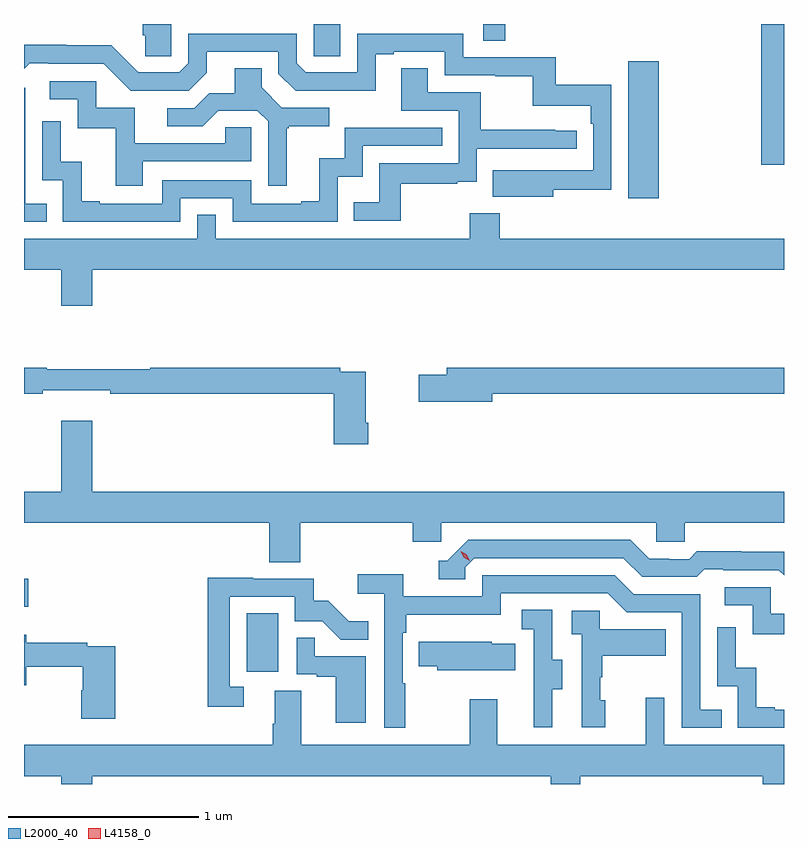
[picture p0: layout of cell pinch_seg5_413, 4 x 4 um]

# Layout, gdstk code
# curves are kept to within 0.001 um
import gdstk
lib = gdstk.Library(unit=1e-6, precision=1e-09)
def R(c, l, rs):  # rectangles x0, y0, x1, y1
    for r in rs: c.add(gdstk.rectangle(r[:2], r[2:], *l))
def P(c, l, *ps):  # polygons
    for p in ps: c.add(gdstk.Polygon(p, *l))
L2000_40 = (2000, 40)
L4158_0 = (4158, 0)

pinch_seg5_413 = lib.new_cell('pinch_seg5_413')
R(pinch_seg5_413, L2000_40, [(981.17,859.974,981.334,860.281), (979.997,860.315,980.02,860.463), (983.177,862.464,983.338,863.185), (983.876,862.641,983.997,863.382), (981.522,863.212,981.661,863.382), (982.413,863.293,982.529,863.382)])
P(pinch_seg5_413, L2000_40, [(980.772,863.382),(980.621,863.382),(980.621,863.322),(980.635,863.322),(980.635,863.212),(980.772,863.212)],
  [(982.783,862.51),(983.088,862.51),(983.088,863.062),(982.795,863.062),(982.795,863.208),(982.308,863.208),(982.308,863.331),(981.75,863.331),(981.75,863.127),(981.48,863.127),(981.432,863.175),(981.432,863.331),(980.862,863.331),(980.862,863.175),(980.814,863.127),(980.598,863.127),(980.456,863.269),(980.22,863.269),(980.22,863.272),(979.997,863.272),(979.997,863.146),(980.026,863.175),(980.125,863.175),(980.125,863.172),(980.418,863.172),(980.559,863.031),(980.865,863.031),(980.959,863.125),(980.959,863.235),(981.336,863.235),(981.336,863.121),(981.426,863.031),(981.847,863.03),(981.847,863.223),(981.943,863.223),(981.943,863.235),(982.212,863.235),(982.212,863.112),(982.477,863.112),(982.477,863.107),(982.674,863.107),(982.674,862.952),(982.979,862.952),(982.979,862.856),(982.992,862.856),(982.992,862.611),(982.465,862.612),(982.465,862.472),(982.783,862.472)],
  [(981.979,862.542),(982.277,862.542),(982.277,862.553),(982.38,862.553),(982.38,862.725),(982.906,862.725),(982.906,862.821),(982.793,862.821),(982.793,862.826),(982.4,862.826),(982.4,863.022),(982.123,863.022),(982.123,863.15),(981.983,863.15),(981.983,862.926),(982.284,862.926),(982.284,862.65),(981.868,862.65),(981.868,862.444),(981.733,862.444),(981.733,862.347),(981.979,862.347)],
  [(981.379,862.833),(981.391,862.833),(981.391,862.844),(981.604,862.844),(981.604,862.941),(981.354,862.941),(981.247,863.048),(981.247,863.15),(981.107,863.15),(981.107,863.018),(980.972,863.018),(980.892,862.938),(980.751,862.938),(980.751,862.845),(980.938,862.845),(981.019,862.926),(981.225,862.926),(981.282,862.869),(981.282,862.53),(981.379,862.53)],
  [(980.623,862.659),(981.192,862.659),(981.192,862.839),(981.055,862.839),(981.055,862.755),(980.581,862.755),(980.581,862.941),(980.376,862.941),(980.376,863.082),(980.133,863.082),(980.133,862.986),(980.28,862.986),(980.28,862.833),(980.479,862.833),(980.479,862.53),(980.623,862.53)],
  [(980.117,862.437),(980.004,862.437),(980.004,863.046),(979.997,863.046),(979.997,862.341),(980.117,862.341)],
  [(980.82,862.464),(981.096,862.464),(981.096,862.341),(981.648,862.341),(981.648,862.577),(981.78,862.577),(981.78,862.74),(982.199,862.74),(982.199,862.836),(981.684,862.836),(981.684,862.675),(981.551,862.675),(981.551,862.45),(981.455,862.45),(981.455,862.437),(981.192,862.437),(981.192,862.56),(980.724,862.56),(980.724,862.437),(980.395,862.437),(980.395,862.45),(980.3,862.45),(980.3,862.658),(980.19,862.658),(980.19,862.87),(980.094,862.87),(980.094,862.56),(980.202,862.56),(980.202,862.341),(980.82,862.341)],
  [(980.356,862.088),(983.997,862.088),(983.997,862.252),(982.502,862.252),(982.502,862.387),(982.342,862.387),(982.342,862.252),(981.006,862.252),(981.006,862.379),(980.91,862.379),(980.91,862.252),(979.997,862.252),(979.997,862.088),(980.192,862.088),(980.192,861.9),(980.356,861.9)],
  [(981.809,861.283),(981.796,861.283),(981.796,861.552),(981.662,861.552),(981.662,861.572),(980.662,861.572),(980.662,861.565),(980.118,861.565),(980.118,861.572),(979.997,861.572),(979.997,861.436),(980.096,861.436),(980.096,861.455),(980.452,861.455),(980.452,861.436),(981.626,861.436),(981.626,861.171),(981.809,861.171)],
  [(982.462,861.436),(983.997,861.436),(983.997,861.572),(982.223,861.572),(982.223,861.536),(982.074,861.536),(982.074,861.394),(982.462,861.394)],
  [(981.452,860.756),(982.043,860.756),(982.043,860.658),(982.194,860.658),(982.194,860.756),(983.325,860.756),(983.325,860.658),(983.475,860.658),(983.475,860.756),(983.997,860.756),(983.997,860.92),(980.356,860.92),(980.356,861.295),(980.192,861.295),(980.192,860.92),(979.997,860.92),(979.997,860.756),(981.287,860.756),(981.287,860.548),(981.452,860.548)],
  [(982.32,860.523),(982.368,860.571),(983.151,860.571),(983.25,860.472),(983.539,860.472),(983.578,860.511),(983.677,860.511),(983.677,860.508),(983.97,860.508),(983.997,860.481),(983.997,860.605),(983.772,860.605),(983.772,860.608),(983.539,860.608),(983.497,860.565),(983.394,860.565),(983.394,860.568),(983.287,860.568),(983.188,860.667),(982.335,860.667),(982.224,860.556),(982.181,860.556),(982.181,860.46),(982.32,860.46)],
  [(982.003,859.913),(981.99,859.913),(981.99,860.177),(982.009,860.177),(982.009,860.273),(982.506,860.273),(982.506,860.385),(983.07,860.385),(983.169,860.286),(983.46,860.286),(983.46,859.677),(983.669,859.677),(983.669,859.773),(983.556,859.773),(983.556,860.382),(983.206,860.382),(983.107,860.481),(982.41,860.481),(982.41,860.37),(981.992,860.37),(981.992,860.486),(981.753,860.486),(981.753,860.384),(981.894,860.384),(981.894,859.677),(982.003,859.677)],
  [(981.154,859.893),(981.081,859.893),(981.081,860.367),(981.423,860.367),(981.423,860.238),(981.567,860.238),(981.665,860.14),(981.809,860.14),(981.809,860.239),(981.705,860.239),(981.598,860.346),(981.522,860.346),(981.522,860.463),(981.203,860.463),(981.203,860.468),(980.965,860.468),(980.965,859.788),(981.154,859.788)],
  [(983.997,860.277),(983.928,860.277),(983.928,860.418),(983.685,860.418),(983.685,860.322),(983.832,860.322),(983.832,860.169),(983.997,860.169)],
  [(982.777,859.882),(982.831,859.882),(982.831,860.037),(982.776,860.037),(982.776,860.3),(982.617,860.3),(982.617,860.197),(982.68,860.197),(982.68,859.893),(982.679,859.893),(982.679,859.68),(982.777,859.68)],
  [(983.056,859.824),(983.031,859.824),(983.031,859.943),(983.041,859.943),(983.041,860.057),(983.375,860.057),(983.375,860.197),(983.028,860.197),(983.028,860.295),(982.881,860.295),(982.881,860.171),(982.932,860.171),(982.932,859.68),(983.056,859.68)],
  [(983.997,859.773),(983.947,859.773),(983.947,859.786),(983.852,859.786),(983.852,859.994),(983.742,859.994),(983.742,860.206),(983.646,860.206),(983.646,859.896),(983.754,859.896),(983.754,859.677),(983.997,859.677)],
  [(980.477,860.106),(980.33,860.106),(980.33,860.126),(980.008,860.126),(980.008,860.167),(979.997,860.167),(979.997,859.901),(980.008,859.901),(980.008,859.998),(980.306,859.998),(980.306,859.875),(980.299,859.875),(980.299,859.725),(980.477,859.725)],
  [(981.796,860.055),(981.527,860.055),(981.527,860.153),(981.432,860.153),(981.432,859.959),(981.539,859.959),(981.539,859.947),(981.638,859.947),(981.638,859.704),(981.796,859.704)],
  [(982.583,860.119),(982.458,860.119),(982.458,860.131),(982.075,860.131),(982.075,860.002),(982.173,860.002),(982.173,859.982),(982.583,859.982)],
  [(980.356,859.424),(982.769,859.424),(982.769,859.382),(982.925,859.382),(982.925,859.424),(983.885,859.424),(983.885,859.382),(983.997,859.382),(983.997,859.588),(983.367,859.588),(983.367,859.837),(983.27,859.837),(983.27,859.588),(982.489,859.588),(982.489,859.828),(982.342,859.828),(982.342,859.588),(981.457,859.588),(981.457,859.874),(981.317,859.874),(981.317,859.7),(981.305,859.7),(981.305,859.588),(979.997,859.588),(979.997,859.424),(980.192,859.424),(980.192,859.382),(980.356,859.382)])
P(pinch_seg5_413, L4158_0, [(982.342,860.556),(982.312,860.575),(982.296,860.608),(982.296,860.608),(982.296,860.608),(982.327,860.588),(982.342,860.556),(982.342,860.556)])

lib.write_gds('pinch_seg5_413.gds')
